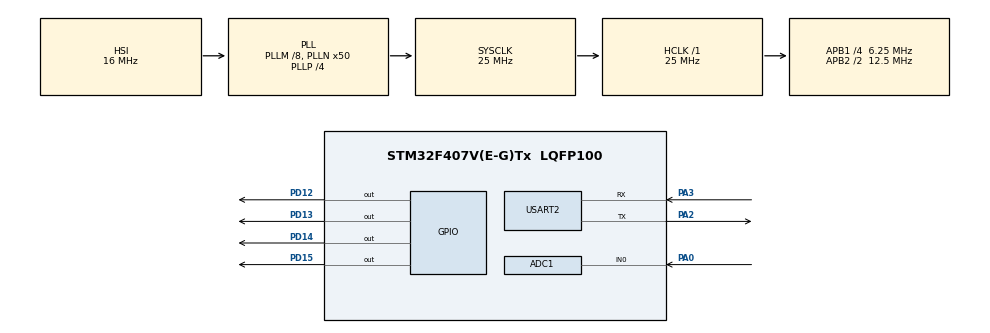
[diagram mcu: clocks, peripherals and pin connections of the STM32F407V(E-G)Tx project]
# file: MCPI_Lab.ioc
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ADC1.Channel-0\#ChannelRegularConversion=ADC_CHANNEL_0
ADC1.NbrOfConversionFlag=1
ADC1.Rank-0\#ChannelRegularConversion=1
ADC1.SamplingTime-0\#ChannelRegularConversion=ADC_SAMPLETIME_3CYCLES
ADC1.master=1
Mcu.Family=STM32F4
Mcu.Name=STM32F407V(E-G)Tx
Mcu.Package=LQFP100
NVIC.PriorityGroup=NVIC_PRIORITYGROUP_0
PA0-WKUP.Signal=ADCx_IN0
PA2.Mode=Asynchronous
PA2.Signal=USART2_TX
PA3.Mode=Asynchronous
PA3.Signal=USART2_RX
PD12.Signal=GPIO_Output
PD13.Signal=GPIO_Output
PD14.Signal=GPIO_Output
PD15.Signal=GPIO_Output
ProjectManager.HeapSize=0x200
ProjectManager.StackSize=0x400
ProjectManager.TargetToolchain=STM32CubeIDE
RCC.48MHZClocksFreq_Value=14285714.285714285
RCC.AHBFreq_Value=25000000
RCC.APB1CLKDivider=RCC_HCLK_DIV4
RCC.APB1Freq_Value=6250000
RCC.APB1TimFreq_Value=12500000
RCC.APB2CLKDivider=RCC_HCLK_DIV2
RCC.APB2Freq_Value=12500000
RCC.APB2TimFreq_Value=25000000
RCC.CortexFreq_Value=25000000
RCC.HCLKFreq_Value=25000000
RCC.HSE_VALUE=8000000
RCC.HSI_VALUE=16000000
RCC.LSE_VALUE=32768
RCC.PLLM=8
RCC.PLLN=50
RCC.PLLP=RCC_PLLP_DIV4
RCC.PLLQ=7
RCC.SYSCLKFreq_VALUE=25000000
RCC.SYSCLKSource=RCC_SYSCLKSOURCE_PLLCLK
RCC.VCOOutputFreq_Value=100000000
SH.ADCx_IN0.0=ADC1_IN0,IN0
USART2.VirtualMode=VM_ASYNC
board=STM32F407G-DISC1

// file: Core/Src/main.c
/* USER CODE BEGIN Header */
/* USER CODE END Header */
#include "main.h"

/* USER CODE BEGIN PM */
#define BV(n) (1<<(n))
/* USER CODE END PM */

ADC_HandleTypeDef hadc1;
UART_HandleTypeDef huart2;

/* USER CODE BEGIN PV */
uint8_t choice;
char str[20];
volatile uint32_t value;
/* USER CODE END PV */

void SystemClock_Config(void);
static void MX_GPIO_Init(void);
static void MX_USART2_UART_Init(void);
static void MX_ADC1_Init(void);

/* USER CODE BEGIN 0 */
void uart_recieve(char str[])
{
	char ch;
	int i = 0;
	do
	{
		HAL_UART_Receive(&huart2, (uint8_t *)&ch, 1, HAL_MAX_DELAY);
		str[i++] = ch;
	}while(ch != '\r');
	str[i++] = '\n';
	str[i] = '\0';
}

/* USER CODE END 0 */

int main(void)
{

  /* MCU Configuration--------------------------------------------------------*/

  /* Reset of all peripherals, Initializes the Flash interface and the Systick. */
  HAL_Init();

  /* Configure the system clock */
  SystemClock_Config();

  /* Initialize all configured peripherals */
  MX_GPIO_Init();
  MX_USART2_UART_Init();
  MX_ADC1_Init();

  /* Infinite loop */
  while(1)
  {

    /* USER CODE BEGIN 3 */
	  HAL_UART_Transmit(&huart2, (uint8_t *)"Name: MOHD SAYEED\r\n", sizeof("Name: MOHD SAYEED\r\n"), HAL_MAX_DELAY);
	  HAL_UART_Transmit(&huart2, (uint8_t *)"Roll_n0 : 80299\r\n", sizeof("Roll_n0 : 80299\r\n"), HAL_MAX_DELAY);
	  HAL_UART_Transmit(&huart2, (uint8_t *)"1. LED pattern\r\n", sizeof("1. LED pattern\r\n"), HAL_MAX_DELAY);
	  HAL_UART_Transmit(&huart2, (uint8_t *)"2. Parity check\r\n", sizeof("2. Parity check\r\n"), HAL_MAX_DELAY);
	  HAL_UART_Transmit(&huart2, (uint8_t *)"3. ADC reading\r\n", sizeof("3. ADC reading\r\n"), HAL_MAX_DELAY);
	  HAL_UART_Transmit(&huart2, (uint8_t *)"Enter your choice : \r\n", sizeof("Enter your choice : \r\n"), HAL_MAX_DELAY);

	  	  	  HAL_ADC_Start(&hadc1);
	  	  	  HAL_ADC_PollForConversion(&hadc1, HAL_MAX_DELAY);
	  	  	  value = HAL_ADC_GetValue(&hadc1);
	  	  	  HAL_ADC_Stop(&hadc1);
	  uart_recieve(str);
	  choice = str[0] - '0';
	  switch(choice)
	  {
	  case 1:
		  HAL_GPIO_WritePin(GPIOD, GPIO_PIN_12, GPIO_PIN_SET);
		  HAL_Delay(1000);
		  HAL_GPIO_WritePin(GPIOD, GPIO_PIN_13, GPIO_PIN_SET);
		  HAL_Delay(1000);
		  HAL_GPIO_WritePin(GPIOD, GPIO_PIN_14, GPIO_PIN_SET);
		  HAL_Delay(1000);
		  HAL_GPIO_WritePin(GPIOD, GPIO_PIN_15, GPIO_PIN_SET);

		  HAL_Delay(1000);

		  HAL_GPIO_WritePin(GPIOD, GPIO_PIN_12, GPIO_PIN_RESET);
		  HAL_Delay(1000);
		  HAL_GPIO_WritePin(GPIOD, GPIO_PIN_13, GPIO_PIN_RESET);
		  HAL_Delay(1000);
		  HAL_GPIO_WritePin(GPIOD, GPIO_PIN_14, GPIO_PIN_RESET);
		  HAL_Delay(1000);
		  HAL_GPIO_WritePin(GPIOD, GPIO_PIN_15, GPIO_PIN_RESET);
		  break;

	  case 2:
		  HAL_UART_Transmit(&huart2, (uint8_t *)"Enter number\r\n",sizeof ("Enter number\r\n"), HAL_MAX_DELAY);
		  uart_recieve(str);
		  int num = str[0] - '0';
		  if(num & 1)
		  {  HAL_GPIO_WritePin(GPIOD, GPIO_PIN_15, GPIO_PIN_SET);
		  	  HAL_Delay(3000);
		  	 HAL_GPIO_WritePin(GPIOD, GPIO_PIN_15, GPIO_PIN_RESET);
		  }
		  	 else
		  {
			  HAL_GPIO_WritePin(GPIOD, GPIO_PIN_12, GPIO_PIN_SET);
		  	  HAL_Delay(3000);
		  	  HAL_GPIO_WritePin(GPIOD, GPIO_PIN_12, GPIO_PIN_RESET);
		  	  }
		  break;

	  case 3:
		  do
		  	 {
		  	  HAL_ADC_Start(&hadc1);
		 	  HAL_ADC_PollForConversion(&hadc1, HAL_MAX_DELAY);
		 	  value = HAL_ADC_GetValue(&hadc1);
		 	  HAL_ADC_Stop(&hadc1);

		 	  	  if(value > 3000)
		 	  	 {
				  HAL_GPIO_WritePin(GPIOD, GPIO_PIN_14, GPIO_PIN_SET);

				  HAL_Delay(3000);

				  HAL_GPIO_WritePin(GPIOD, GPIO_PIN_14, GPIO_PIN_RESET);
		 	  	 }
		  	 }while(value > 100);
		  break;

	  }
  }
  /* USER CODE END 3 */
}

void SystemClock_Config(void)
{
  RCC_OscInitTypeDef RCC_OscInitStruct = {0};
  RCC_ClkInitTypeDef RCC_ClkInitStruct = {0};

  /** Configure the main internal regulator output voltage
  */
  __HAL_RCC_PWR_CLK_ENABLE();
  __HAL_PWR_VOLTAGESCALING_CONFIG(PWR_REGULATOR_VOLTAGE_SCALE1);

  /** Initializes the RCC Oscillators according to the specified parameters
  * in the RCC_OscInitTypeDef structure.
  */
  RCC_OscInitStruct.OscillatorType = RCC_OSCILLATORTYPE_HSI;
  RCC_OscInitStruct.HSIState = RCC_HSI_ON;
  RCC_OscInitStruct.HSICalibrationValue = RCC_HSICALIBRATION_DEFAULT;
  RCC_OscInitStruct.PLL.PLLState = RCC_PLL_ON;
  RCC_OscInitStruct.PLL.PLLSource = RCC_PLLSOURCE_HSI;
  RCC_OscInitStruct.PLL.PLLM = 8;
  RCC_OscInitStruct.PLL.PLLN = 50;
  RCC_OscInitStruct.PLL.PLLP = RCC_PLLP_DIV4;
  RCC_OscInitStruct.PLL.PLLQ = 7;
  if (HAL_RCC_OscConfig(&RCC_OscInitStruct) != HAL_OK)
  {
    Error_Handler();
  }

  /** Initializes the CPU, AHB and APB buses clocks
  */
  RCC_ClkInitStruct.ClockType = RCC_CLOCKTYPE_HCLK|RCC_CLOCKTYPE_SYSCLK
                              |RCC_CLOCKTYPE_PCLK1|RCC_CLOCKTYPE_PCLK2;
  RCC_ClkInitStruct.SYSCLKSource = RCC_SYSCLKSOURCE_PLLCLK;
  RCC_ClkInitStruct.AHBCLKDivider = RCC_SYSCLK_DIV1;
  RCC_ClkInitStruct.APB1CLKDivider = RCC_HCLK_DIV4;
  RCC_ClkInitStruct.APB2CLKDivider = RCC_HCLK_DIV2;

  if (HAL_RCC_ClockConfig(&RCC_ClkInitStruct, FLASH_LATENCY_0) != HAL_OK)
  {
    Error_Handler();
  }
}

static void MX_ADC1_Init(void)
{

  ADC_ChannelConfTypeDef sConfig = {0};

  /** Configure the global features of the ADC (Clock, Resolution, Data Alignment and number of conversion)
  */
  hadc1.Instance = ADC1;
  hadc1.Init.ClockPrescaler = ADC_CLOCK_SYNC_PCLK_DIV2;
  hadc1.Init.Resolution = ADC_RESOLUTION_12B;
  hadc1.Init.ScanConvMode = DISABLE;
  hadc1.Init.ContinuousConvMode = DISABLE;
  hadc1.Init.DiscontinuousConvMode = DISABLE;
  hadc1.Init.ExternalTrigConvEdge = ADC_EXTERNALTRIGCONVEDGE_NONE;
  hadc1.Init.ExternalTrigConv = ADC_SOFTWARE_START;
  hadc1.Init.DataAlign = ADC_DATAALIGN_RIGHT;
  hadc1.Init.NbrOfConversion = 1;
  hadc1.Init.DMAContinuousRequests = DISABLE;
  hadc1.Init.EOCSelection = ADC_EOC_SINGLE_CONV;
  if (HAL_ADC_Init(&hadc1) != HAL_OK)
  {
    Error_Handler();
  }

  /** Configure for the selected ADC regular channel its corresponding rank in the sequencer and its sample time.
  */
  sConfig.Channel = ADC_CHANNEL_0;
  sConfig.Rank = 1;
  sConfig.SamplingTime = ADC_SAMPLETIME_3CYCLES;
  if (HAL_ADC_ConfigChannel(&hadc1, &sConfig) != HAL_OK)
  {
    Error_Handler();
  }

}

static void MX_USART2_UART_Init(void)
{

  huart2.Instance = USART2;
  huart2.Init.BaudRate = 115200;
  huart2.Init.WordLength = UART_WORDLENGTH_8B;
  huart2.Init.StopBits = UART_STOPBITS_1;
  huart2.Init.Parity = UART_PARITY_NONE;
  huart2.Init.Mode = UART_MODE_TX_RX;
  huart2.Init.HwFlowCtl = UART_HWCONTROL_NONE;
  huart2.Init.OverSampling = UART_OVERSAMPLING_16;
  if (HAL_UART_Init(&huart2) != HAL_OK)
  {
    Error_Handler();
  }

}

static void MX_GPIO_Init(void)
{
  GPIO_InitTypeDef GPIO_InitStruct = {0};

  /* GPIO Ports Clock Enable */
  __HAL_RCC_GPIOA_CLK_ENABLE();
  __HAL_RCC_GPIOD_CLK_ENABLE();

  /*Configure GPIO pin Output Level */
  HAL_GPIO_WritePin(GPIOD, GPIO_PIN_12|GPIO_PIN_13|GPIO_PIN_14|GPIO_PIN_15, GPIO_PIN_RESET);

  /*Configure GPIO pins : PD12 PD13 PD14 PD15 */
  GPIO_InitStruct.Pin = GPIO_PIN_12|GPIO_PIN_13|GPIO_PIN_14|GPIO_PIN_15;
  GPIO_InitStruct.Mode = GPIO_MODE_OUTPUT_PP;
  GPIO_InitStruct.Pull = GPIO_NOPULL;
  GPIO_InitStruct.Speed = GPIO_SPEED_FREQ_LOW;
  HAL_GPIO_Init(GPIOD, &GPIO_InitStruct);

}

void Error_Handler(void)
{
}
